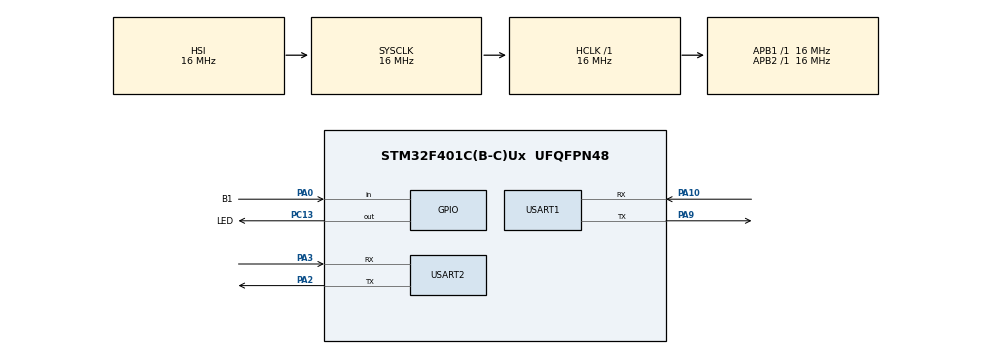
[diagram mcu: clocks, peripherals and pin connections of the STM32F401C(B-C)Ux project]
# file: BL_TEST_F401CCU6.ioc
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Mcu.Family=STM32F4
Mcu.Name=STM32F401C(B-C)Ux
Mcu.Package=UFQFPN48
NVIC.PriorityGroup=NVIC_PRIORITYGROUP_4
PA0-WKUP.GPIO_Label=B1
PA0-WKUP.Signal=GPIO_Input
PA10.Mode=Asynchronous
PA10.Signal=USART1_RX
PA13.Mode=Serial_Wire
PA13.Signal=SYS_JTMS-SWDIO
PA14.Mode=Serial_Wire
PA14.Signal=SYS_JTCK-SWCLK
PA2.Mode=Asynchronous
PA2.Signal=USART2_TX
PA3.Mode=Asynchronous
PA3.Signal=USART2_RX
PA9.Mode=Asynchronous
PA9.Signal=USART1_TX
PC13-ANTI_TAMP.GPIO_Label=LED
PC13-ANTI_TAMP.Signal=GPIO_Output
PH0\ -\ OSC_IN.Mode=HSE-External-Oscillator
PH0\ -\ OSC_IN.Signal=RCC_OSC_IN
PH1\ -\ OSC_OUT.Mode=HSE-External-Oscillator
PH1\ -\ OSC_OUT.Signal=RCC_OSC_OUT
ProjectManager.HeapSize=0x200
ProjectManager.StackSize=0x400
ProjectManager.TargetToolchain=STM32CubeIDE
RCC.AHBFreq_Value=16000000
RCC.APB1Freq_Value=16000000
RCC.APB2Freq_Value=16000000
RCC.CortexFreq_Value=16000000
RCC.HSE_VALUE=25000000
RCC.HSI_VALUE=16000000
RCC.LSE_VALUE=32768
RCC.SYSCLKFreq_VALUE=16000000
RCC.VCOOutputFreq_Value=192000000
USART1.VirtualMode=VM_ASYNC
USART2.VirtualMode=VM_ASYNC
VP_CRC_VS_CRC.Mode=CRC_Activate
board=custom

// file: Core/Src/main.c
/* USER CODE BEGIN Header */
/**
  ******************************************************************************
  * @file           : main.c
  * @brief          : Main program body
  ******************************************************************************
  * @attention
  *
  * Copyright (c) 2026 STMicroelectronics.
  * All rights reserved.
  *
  * This software is licensed under terms that can be found in the LICENSE file
  * in the root directory of this software component.
  * If no LICENSE file comes with this software, it is provided AS-IS.
  *
  ******************************************************************************
  */
/* USER CODE END Header */
#include "main.h"

/* USER CODE BEGIN PD */
#define BL_DEBUG_MSG_EN	1
#define D_UART &huart1 /* Debug UART*/
#define C_UART &huart2 /* Virtual Communication UART - For BL Commands (C)*/

#define BL_RX_LEN 200

#define FLASH_BOOTLOADER 		0x08000000 /* Bank 1 - Boot loader 16KB*/
#define FLASH_FIRMWARE1 		0x0800C000 /* Bank 1 - 96KB */
#define FLASH_FIRMWARE2 		0x08020000 /* Bank 2 - 128KB */

/* FLASH Active Bank Macros */
#define FLASH_ACTIVE_BANK1 		1
#define FLASH_ACTIVE_BANK2		2

/* FLASH Page for Meta data*/

#define FLASH_METADATA_BASEADDR	0x08008000

/* USER CODE END PD */

CRC_HandleTypeDef hcrc;

UART_HandleTypeDef huart1;
UART_HandleTypeDef huart2;

/* USER CODE BEGIN PV */
uint8_t bl_rx_buffer[BL_RX_LEN]; /* Buffer for general boot loader communications */

uint8_t supported_commands[] = {
                                 BL_GET_VER ,
                                 BL_GET_HELP,
                                 BL_GET_CID,
                                 BL_GET_RDP_STATUS,
                                 BL_GO_TO_ADDR,
                                 BL_FLASH_ERASE,
                                 BL_MEM_WRITE,
                                 BL_READ_SECTOR_P_STATUS,
								 BL_SHOW_ACTIVE_BANK};

uint8_t active_bank_number; /*Variable to store active bank number ACTIVE_BANK_1 or ACTIVE_BANK_2*/
/* USER CODE END PD */

/* Private macro -------------------------------------------------------------*/
/* USER CODE BEGIN PM */

/* USER CODE END PM */

/* Private variables ---------------------------------------------------------*/

/* USER CODE BEGIN PV */

/* USER CODE END PV */

void SystemClock_Config(void);
static void MX_GPIO_Init(void);
static void MX_CRC_Init(void);
static void MX_USART1_UART_Init(void);
static void MX_USART2_UART_Init(void);
/* USER CODE BEGIN PFP */
static void boot_manager(void);
static void launch_application(void);
static void start_update_flow(void);
static uint8_t user_requested_update(void);
static uint8_t update_button_active(void);
/* USER CODE END PFP */

int main(void)
{

  /* MCU Configuration--------------------------------------------------------*/

  /* Reset of all peripherals, Initializes the Flash interface and the Systick. */
  HAL_Init();

  /* Configure the system clock */
  SystemClock_Config();

  /* Initialize all configured peripherals */
  MX_GPIO_Init();
  MX_CRC_Init();
  MX_USART1_UART_Init();
  MX_USART2_UART_Init();
  /* USER CODE BEGIN 2 */
  active_bank_number = fetch_active_bank_number();
  printmsg("BL_DEBUG_MSG: Active Bank: %d \n\r", active_bank_number);

  boot_manager();

  /* USER CODE END 2 */

  /* Infinite loop */
  while (1)
  {

  }
}

void SystemClock_Config(void)
{
  RCC_OscInitTypeDef RCC_OscInitStruct = {0};
  RCC_ClkInitTypeDef RCC_ClkInitStruct = {0};

  /** Configure the main internal regulator output voltage
  */
  __HAL_RCC_PWR_CLK_ENABLE();
  __HAL_PWR_VOLTAGESCALING_CONFIG(PWR_REGULATOR_VOLTAGE_SCALE2);

  /** Initializes the RCC Oscillators according to the specified parameters
  * in the RCC_OscInitTypeDef structure.
  */
  RCC_OscInitStruct.OscillatorType = RCC_OSCILLATORTYPE_HSI;
  RCC_OscInitStruct.HSIState = RCC_HSI_ON;
  RCC_OscInitStruct.HSICalibrationValue = RCC_HSICALIBRATION_DEFAULT;
  RCC_OscInitStruct.PLL.PLLState = RCC_PLL_NONE;
  if (HAL_RCC_OscConfig(&RCC_OscInitStruct) != HAL_OK)
  {
    Error_Handler();
  }

  /** Initializes the CPU, AHB and APB buses clocks
  */
  RCC_ClkInitStruct.ClockType = RCC_CLOCKTYPE_HCLK|RCC_CLOCKTYPE_SYSCLK
                              |RCC_CLOCKTYPE_PCLK1|RCC_CLOCKTYPE_PCLK2;
  RCC_ClkInitStruct.SYSCLKSource = RCC_SYSCLKSOURCE_HSI;
  RCC_ClkInitStruct.AHBCLKDivider = RCC_SYSCLK_DIV1;
  RCC_ClkInitStruct.APB1CLKDivider = RCC_HCLK_DIV1;
  RCC_ClkInitStruct.APB2CLKDivider = RCC_HCLK_DIV1;

  if (HAL_RCC_ClockConfig(&RCC_ClkInitStruct, FLASH_LATENCY_0) != HAL_OK)
  {
    Error_Handler();
  }
}

static void MX_CRC_Init(void)
{

  hcrc.Instance = CRC;
  if (HAL_CRC_Init(&hcrc) != HAL_OK)
  {
    Error_Handler();
  }

}

static void MX_USART1_UART_Init(void)
{

  huart1.Instance = USART1;
  huart1.Init.BaudRate = 115200;
  huart1.Init.WordLength = UART_WORDLENGTH_8B;
  huart1.Init.StopBits = UART_STOPBITS_1;
  huart1.Init.Parity = UART_PARITY_NONE;
  huart1.Init.Mode = UART_MODE_TX_RX;
  huart1.Init.HwFlowCtl = UART_HWCONTROL_NONE;
  huart1.Init.OverSampling = UART_OVERSAMPLING_16;
  if (HAL_UART_Init(&huart1) != HAL_OK)
  {
    Error_Handler();
  }

}

static void MX_USART2_UART_Init(void)
{

  huart2.Instance = USART2;
  huart2.Init.BaudRate = 115200;
  huart2.Init.WordLength = UART_WORDLENGTH_8B;
  huart2.Init.StopBits = UART_STOPBITS_1;
  huart2.Init.Parity = UART_PARITY_NONE;
  huart2.Init.Mode = UART_MODE_TX_RX;
  huart2.Init.HwFlowCtl = UART_HWCONTROL_NONE;
  huart2.Init.OverSampling = UART_OVERSAMPLING_16;
  if (HAL_UART_Init(&huart2) != HAL_OK)
  {
    Error_Handler();
  }

}

static void MX_GPIO_Init(void)
{
  GPIO_InitTypeDef GPIO_InitStruct = {0};

  /* GPIO Ports Clock Enable */
  __HAL_RCC_GPIOC_CLK_ENABLE();
  __HAL_RCC_GPIOH_CLK_ENABLE();
  __HAL_RCC_GPIOA_CLK_ENABLE();

  /*Configure GPIO pin Output Level */
  HAL_GPIO_WritePin(LED_GPIO_Port, LED_Pin, GPIO_PIN_RESET);

  /*Configure GPIO pin : LED_Pin */
  GPIO_InitStruct.Pin = LED_Pin;
  GPIO_InitStruct.Mode = GPIO_MODE_OUTPUT_PP;
  GPIO_InitStruct.Pull = GPIO_NOPULL;
  GPIO_InitStruct.Speed = GPIO_SPEED_FREQ_LOW;
  HAL_GPIO_Init(LED_GPIO_Port, &GPIO_InitStruct);

  /*Configure GPIO pin : B1_Pin */
  GPIO_InitStruct.Pin = B1_Pin;
  GPIO_InitStruct.Mode = GPIO_MODE_INPUT;
  GPIO_InitStruct.Pull = GPIO_NOPULL;
  HAL_GPIO_Init(B1_GPIO_Port, &GPIO_InitStruct);

}

/* USER CODE BEGIN 4 */
void printmsg(char *format, ...){/* The ... (ellipsis) means that more arguments can follow */

#ifdef BL_DEBUG_MSG_EN

	char str[80];
	/*Extract the argument list using C VA APIs*/
	va_list args;
	va_start(args, format);
	vsprintf(str, format, args);
	HAL_UART_Transmit(D_UART, (uint8_t*)str, strlen(str), HAL_MAX_DELAY);
	va_end(args);
#endif
}

static uint8_t update_button_active(void)
{
    return (HAL_GPIO_ReadPin(B1_GPIO_Port, B1_Pin) == GPIO_PIN_SET);
}

static uint8_t user_requested_update(void)
{
    uint8_t response;

    printmsg("BL_DEBUG_MSG: Would you like to update the firmware? (Y/N): \n\r");

    if (HAL_UART_Receive(D_UART, &response, 1, HAL_MAX_DELAY) != HAL_OK)
    {
        printmsg("BL_DEBUG_MSG: No Response Received\n\r");
        return 0;
    }

    return (response == 'Y' || response == 'y');
}

static void launch_application(void)
{
	active_bank_number = fetch_active_bank_number();
	printmsg("BL_DEBUG_MSG: Active Bank: %d \n\r", active_bank_number);

    bootloader_jump_to_active_bank();
}

static void start_update_flow(void)
{
	printmsg("BL_DEBUG_MSG: Starting firmware Upgrade \n\r");

    handle_firmware_update();

//    printmsg("Update complete\r\n");

    HAL_Delay(5000);

    printmsg("BL_DEBUG_MSG: Jumping To User Application \n\r");

}

static void boot_manager(void)
{
    if (!update_button_active())
    {
    	printmsg("BL_DEBUG_MSG: Normal Boot Selected\n\r");
        launch_application();
        return;
    }

    else{

    	printmsg("BL_DEBUG_MSG: Bootloader Mode Entered\n\r");

    if (user_requested_update())
    {
        start_update_flow();
        launch_application();     // Centralized jump
    }
    else
    {
    	printmsg("BL_DEBUG_MSG: Entering Command Interface\n\r");
        bootloader_command_handler();
    }

    }
}

void bootloader_jump_to_active_bank()
{
	/* Flow of the function:
	 * 1. Reads the applications’s initial MSP and sets it.
	 * 2. Redirects interrupts by re-mapping VTOR.
	 * 3. Fetches the application’s Reset_Handler address.
	 * 4. Calls it, effectively jumping to the user application.
	 */

	printmsg("BL_DEBUG_MSG: bootloader_jump_to_user_app\n\r");

	/*The first byte at address of the FLASH area holds the value of MSP and next byte holds the Reset Handler
	 * according to ARM-Cortex Architecture */

	/*1. Configure the Main Stack Pointer (MSP) by reading the value form the flash base address of desired sector*/
	/* Check which firmware bank is active and run active firmware bank*/

	uint32_t resethandler_address;

	if(active_bank_number == FLASH_ACTIVE_BANK1)
	{

		printmsg("BL_DEBUG_MSG: Firmware Bank 1 Active. \n\r");

		uint32_t msp_value = *(volatile uint32_t*)FLASH_FIRMWARE1;

		/* Set MSP function from CMSIS*/
		 __disable_irq();

		    /* Stop SysTick */
		    SysTick->CTRL = 0;
		    SysTick->LOAD = 0;
		    SysTick->VAL  = 0;
		__set_MSP(msp_value);

		/* Re-map vector table to user application base address */
		SCB->VTOR = FLASH_FIRMWARE1; /* System Control Block - Vector Table Offset Register */

		/* Fetch the reset handler address of the user application
		* from the location FIRMWARE_BASE_ADDRESS + 4 (32bits) */
		resethandler_address = *(volatile uint32_t*)(FLASH_FIRMWARE1 + 4);

	}else if(active_bank_number == FLASH_ACTIVE_BANK2){

		printmsg("BL_DEBUG_MSG: Firmware Bank 2 Active. \n\r");

		uint32_t msp_value = *(volatile uint32_t*)FLASH_FIRMWARE2;

		__disable_irq();

		/* Stop SysTick */
		SysTick->CTRL = 0;
		SysTick->LOAD = 0;
		SysTick->VAL  = 0;

		__set_MSP(msp_value);

		SCB->VTOR = FLASH_FIRMWARE2;

		resethandler_address = *(volatile uint32_t*)(FLASH_FIRMWARE2 + 4);
	}
	else{
		/*If values fetched from FLASH Meta data page is not 0 or 1*/
		printmsg("BL_DEBUG_MSG: Firmware Bank Error! \n\r");
	}

	void (*app_reset_handler)(void); /*A function pointer to hold the address of reset handler*/
	app_reset_handler = (void*) resethandler_address;

	/*3. Jumping to the reset handler of user application - Now this address will be loaded into the Program Counter*/
	app_reset_handler();

}

void bootloader_command_handler()
{
	uint8_t rcv_len = 0;

	while(1)
	{
		memset(bl_rx_buffer, 0, BL_RX_LEN);

		/*First read only one byte, which is the length. Then read the other bytes from UART */
		HAL_UART_Receive(C_UART, (uint8_t*)&bl_rx_buffer, 1, HAL_MAX_DELAY);
		rcv_len = bl_rx_buffer[0];
		/*Receive the command*/
		HAL_UART_Receive(C_UART, (uint8_t*)&bl_rx_buffer[1], rcv_len, HAL_MAX_DELAY);
		printmsg("BL_DEBUG_MSG: Received CMD: 0x%02X\r\n", bl_rx_buffer[1]);

		switch(bl_rx_buffer[1]) /* To check for command codes */
		{
		case BL_GET_VER:
			bootloader_handle_getver_cmd(bl_rx_buffer);
			break;
		case BL_GET_HELP:
			bootloader_handle_gethelp_cmd(bl_rx_buffer);
			break;
		case BL_GET_CID:
			bootloader_handle_getcid_cmd(bl_rx_buffer);
			break;
		case BL_GET_RDP_STATUS:
			bootloader_handle_getrdp_cmd(bl_rx_buffer);
			break;
		case BL_FLASH_ERASE:
			bootloader_handle_flash_erase_cmd(bl_rx_buffer);
			break;
		case BL_MEM_WRITE:
			bootloader_handle_mem_write_cmd(bl_rx_buffer);
			break;
		case BL_EN_RW_PROTECT:
			bootloader_handle_en_rw_protect(bl_rx_buffer);
			break;
		case BL_DIS_R_W_PROTECT:
			bootloader_handle_dis_rw_protect(bl_rx_buffer);
			break;
		case BL_SHOW_ACTIVE_BANK:
			bootloader_show_active_bank(bl_rx_buffer);
			break;
		default:
			printmsg("BL_DEBUG_MSG:Invalid command code received from host \n\r");
			break;

		}

	}
}

/******************* Boot loader handler functions *******************/

void bootloader_handle_getver_cmd(uint8_t *bl_rx_buffer)
{
    /* Handle "Get Version" command */
	uint8_t bl_version;

	uint32_t command_packet_len = bl_rx_buffer[0] + 1; /*Length to follow + First byte*/

	/*Extract the 4 bytes of CRC32 sent by the host*/
	uint32_t host_crc = *((uint32_t*)(bl_rx_buffer + command_packet_len - 4)); /* CRC is always 32 bits (4 bytes) here */

	/*Verify checksum*/
	printmsg("BL_DEBUG_MSG: bootloader_handle_getver_cmd\n\r");
	if(! bootloader_verify_crc(&bl_rx_buffer[0], command_packet_len - 4, host_crc))
	{
		/*Checksum is correct*/
		printmsg("BL_DEBUG_MSG: Checksum success...!\n\r");
		bootloader_send_ack(1);
		bl_version = get_bootloader_version();
		printmsg("BL_DEBUG_MSG: BL_VER: %d ,%x\n\r", bl_version, bl_version);
		bootloader_uart_write_data(&bl_version, 1); /* Sends data back to the HOST */

	}else{
		printmsg("BL_DEBUG_MSG: Checksum failed...!\n\r");
		bootloader_send_nack();

	}

}

void bootloader_handle_gethelp_cmd(uint8_t *bl_rx_buffer)
{
    /* Handle "Get Help" command */
	printmsg("BL_DEBUG_MSG:bootloader_handle_gethelp_cmd\n\r");

	uint32_t command_packet_len = bl_rx_buffer[0] + 1;

	uint32_t host_crc = *((uint32_t*)(bl_rx_buffer + command_packet_len - 4));

	if(! bootloader_verify_crc(&bl_rx_buffer[0], command_packet_len - 4, host_crc))
	{
		printmsg("BL_DEBUG_MSG:checksum success !!\n\r");
		bootloader_send_ack(sizeof(supported_commands));
		bootloader_uart_write_data(supported_commands, sizeof(supported_commands));

	}else{
		printmsg("BL_DEBUG_MSG:checksum fail !!\n\r");
		bootloader_send_nack();
	}
}

void bootloader_handle_getcid_cmd(uint8_t *bl_rx_buffer)
{
    /* Handle "Get Chip ID" command */
	printmsg("BL_DEBUG_MSG:bootloader_handle_getcid_cmd\n\r");

	uint16_t bl_cid_num = 0;

	uint32_t command_packet_len = bl_rx_buffer[0] + 1;

	uint32_t host_crc = *((uint32_t*)(bl_rx_buffer + command_packet_len - 4));

	if(! bootloader_verify_crc(&bl_rx_buffer[0], command_packet_len - 4, host_crc))
	{
		printmsg("BL_DEBUG_MSG:checksum success !!\n\r");
		bootloader_send_ack(2);
		bl_cid_num = get_mcu_chip_id();
		printmsg("BL_DEBUG_MSG:MCU id : %d %#x !!\n\r",bl_cid_num, bl_cid_num);
		bootloader_uart_write_data((uint8_t*)&bl_cid_num, 2);
	}else{
		printmsg("BL_DEBUG_MSG:checksum fail !!\n\r");
		bootloader_send_nack();
	}
}

void bootloader_handle_getrdp_cmd(uint8_t *bl_rx_buffer)
{
    /* Handle "Get Read Protection Level" command */
	printmsg("BL_DEBUG_MSG:bootloader_handle_getrdp_cmd\n\r");

	uint8_t rdp_level = 0x00;

	//Total length of the command packet
	uint32_t command_packet_len = bl_rx_buffer[0]+1 ;

	//extract the CRC32 sent by the Host
	uint32_t host_crc = *((uint32_t * ) (bl_rx_buffer+command_packet_len - 4) ) ;

	if (! bootloader_verify_crc(&bl_rx_buffer[0],command_packet_len-4,host_crc))
	{
		printmsg("BL_DEBUG_MSG:checksum success !!\n\r");
		bootloader_send_ack(1);
		rdp_level = get_flash_rdp_level();
		printmsg("BL_DEBUG_MSG:RDP level: %d %#x\n\r",rdp_level, rdp_level);
		bootloader_uart_write_data(&rdp_level, 1);

	}else{
		printmsg("BL_DEBUG_MSG:checksum fail !!\n\r");
		bootloader_send_nack();
	}
}

void bootloader_handle_flash_erase_cmd(uint8_t *pBuffer)
{
    uint8_t erase_status = 0x00;
    uint32_t command_packet_len;
    uint32_t host_crc;

    printmsg("BL_DEBUG_MSG: bootloader_handle_flash_erase_cmd\n\r");

    /* Get total command length and host CRC */
    command_packet_len = bl_rx_buffer[0] + 1;
    host_crc = *((uint32_t *)(bl_rx_buffer + command_packet_len - 4));

    /* Verify CRC */
    if (!bootloader_verify_crc(&bl_rx_buffer[0], command_packet_len - 4, host_crc))
    {
        printmsg("BL_DEBUG_MSG: CRC check success.\n\r");
        bootloader_send_ack(1);

        uint32_t sector_number     = pBuffer[2];
        uint32_t number_of_sectors = pBuffer[3];

        printmsg("BL_DEBUG_MSG: Sector=%ld  Number of Sectors=%ld\n\r", sector_number, number_of_sectors);

        HAL_GPIO_WritePin(GPIOB, GPIO_PIN_14, GPIO_PIN_SET);

        /* Mass erase check */
        if (sector_number == 0xFF)
        {
            /* Convert to sentinel value used in execute_flash_erase() */
            sector_number = 0xFFFFFFFFU;
        }

        erase_status = execute_flash_erase(sector_number, number_of_sectors);

        HAL_GPIO_WritePin(GPIOB, GPIO_PIN_14, GPIO_PIN_RESET);

        printmsg("BL_DEBUG_MSG: flash erase status: %#x\n\r", erase_status);

        /* Send erase result to host */
        bootloader_uart_write_data(&erase_status, 1);
    }
    else
    {
        printmsg("BL_DEBUG_MSG: CRC check failed!\n\r");
        bootloader_send_nack();
    }
}

void bootloader_handle_mem_write_cmd(uint8_t *bl_rx_buffer)
{
	/* Handle "Memory Write" command */

	printmsg("BL_DEBUG_MSG:bootloader_handle_mem_write_cmd\n\r");

	uint8_t write_status = 0x00;
	uint8_t payload_len = bl_rx_buffer[6];

	uint32_t mem_addr = *((uint32_t*)(&bl_rx_buffer[2]));

	uint32_t command_packet_len = bl_rx_buffer[0] + 1 ;
	uint32_t host_crc = *((uint32_t * ) (bl_rx_buffer + command_packet_len - 4));

	if(! bootloader_verify_crc(&bl_rx_buffer[0], command_packet_len -4, host_crc))
	{
		printmsg("BL_DEBUG_MSG:checksum success !!\n\r");
		bootloader_send_ack(1);
		printmsg("BL_DEBUG_MSG: mem write address : %#x\n\r",mem_addr);

		if( verify_address(mem_addr) == ADDR_VALID ) {

			printmsg("BL_DEBUG_MSG: valid mem write address\n\r");

			//glow the led to indicate bootloader is currently writing to memory
			HAL_GPIO_WritePin(GPIOB, GPIO_PIN_14,1);

			/* Execute memory write*/
			write_status = execute_mem_write(&bl_rx_buffer[7], mem_addr, payload_len);

			HAL_GPIO_WritePin(GPIOB, GPIO_PIN_14,0);
			printmsg("BL_DEBUG_MSG: Write Status : %x\n\r",write_status);

			//inform host about the status
			bootloader_uart_write_data(&write_status,1);

		}else{
			printmsg("BL_DEBUG_MSG: invalid mem write address\n\r");
			write_status = ADDR_INVALID;
			//inform host that address is invalid
			bootloader_uart_write_data(&write_status,1);

		}
	}else{
		printmsg("BL_DEBUG_MSG:checksum fail !!\n\r");
		bootloader_send_nack();
	}
}

void bootloader_handle_en_rw_protect(uint8_t *bl_rx_buffer)
{
    /* Handle "Enable Read/Write Protection" command */
}

void bootloader_handle_dis_rw_protect(uint8_t *bl_rx_buffer)
{
    /* Handle "Disable Read/Write Protection" command */
}

void bootloader_send_nack(void)
{
	uint8_t nack = BL_NACK;
	HAL_UART_Transmit(C_UART, (uint8_t*)&nack, 1, HAL_MAX_DELAY);
}

void bootloader_send_ack(uint8_t follow_len)
{
	/* 2 Bytes are sent, first byte is ACK and second is the length value */
	uint8_t ack_buf[2];
	ack_buf[0] = BL_ACK;
	ack_buf[1] = follow_len;
	HAL_UART_Transmit(C_UART, (uint8_t*)&ack_buf, 2, HAL_MAX_DELAY);

}

uint8_t bootloader_verify_crc(uint8_t *pData, uint32_t len, uint32_t crc_host)
{
	uint32_t uwCRCValue = 0xff;

	for(int i=0; i<len; i++)
	{
		uint32_t i_data = pData[i];
		uwCRCValue = HAL_CRC_Accumulate(&hcrc, &i_data, 1);
	}

	/* Reset CRC Calculation Unit */
	__HAL_CRC_DR_RESET(&hcrc);

	if(uwCRCValue == crc_host)
		return VERIFY_CRC_SUCCESS;
	return VERIFY_CRC_FAIL;

}

void bootloader_uart_write_data(uint8_t *pBuffer,uint32_t len)
{
	HAL_UART_Transmit(C_UART, pBuffer, len, HAL_MAX_DELAY);
}

uint8_t get_bootloader_version()
{
	return (uint8_t)BL_VERSION;
}

uint16_t get_mcu_chip_id(void)
{
	/* RM: The STM32L47x/L48x/L49x/L4Ax MCUs integrate an MCU ID code. This ID identifies the
	   ST MCU part-number and the die revision. It is part of the DBG_MCU component and is
	   mapped on the external PPB bus (see Section 48.16 on page 1832). This code is
	   accessible using the JTAG debug port (4 to 5 pins) or the SW debug port (two pins) or by
	   the user software. It is even accessible while the MCU is under system reset.
	 */

	uint16_t cid;
	/* Reading the register and masking the unnecessary bits */
	cid = (uint16_t)(DBGMCU->IDCODE) & 0x0FFF;
	return cid;
}

uint8_t get_flash_rdp_level(void)
{
	/* !!! VERY IMPORTANT !!!! */
	/*
	 * LEVEL 2 (No debug mode): Option bytes cannot be programmed nor erased. Thus, the level 2 cannot be removed at all:
	 * it is an IRREVERSIBLE operation. 'DO NOT USE' Level 2, it is for end user products.
	 *
	 * When decreased from 'Level 1 to Level 0', the FLASH goes into MASS ERASE.
	 *
	 * */
	/*HAL Implementation*/
	uint8_t rdp_status = 0;
	FLASH_OBProgramInitTypeDef ob_handle;
	HAL_FLASHEx_OBGetConfig(&ob_handle);
	rdp_status = (uint8_t)ob_handle.RDPLevel;
	return rdp_status;
}

uint8_t verify_address(uint32_t go_address)
{
	/*Jump to FLASH, System Memory, SRAM1, SRAM2, Backup SRAM allowed,
	 * others such as peripheral memory not allowed*/

	if ( go_address >= SRAM1_BASE && go_address <= SRAM1_END) {

		return ADDR_VALID;
//	} else if ( go_address >= SRAM2_BASE && go_address <= SRAM2_END) {
//
//		return ADDR_VALID;
	} else if ( go_address >= FLASH_BASE && go_address <= FLASH_END) {

		return ADDR_VALID;
	}else
	return ADDR_INVALID;
}

uint8_t execute_flash_erase(uint8_t sector_number, uint8_t number_of_sectors) {
	//There are 8 sectors in STM32F446RE MCU (Sector[0:7])
	//number_of_sectors must be in the range of 0 to 7
	//if sector_number = 0xFF, that means mass erase

	FLASH_EraseInitTypeDef flashErase_handle;
	uint32_t sectorError;
	HAL_StatusTypeDef status;

	if(number_of_sectors > 5)
		return INVALID_SECTOR;

	if((sector_number == 0xFF) || (sector_number <= 5)) {

		if(sector_number == (uint8_t) 0xFF) {
			flashErase_handle.TypeErase = FLASH_TYPEERASE_MASSERASE;

		} else {
			//Calculate how many sectors need to be erased
			uint8_t remaining_sector = 6 - sector_number;

			if(number_of_sectors > remaining_sector) {
				number_of_sectors = remaining_sector;
			}

			flashErase_handle.TypeErase = FLASH_TYPEERASE_SECTORS;
			flashErase_handle.Sector = sector_number; //The initial sector
			flashErase_handle.NbSectors = number_of_sectors;
		}

//		flashErase_handle.Banks = FLASH_BANK_1;

		//Gain access to modify the FLASH registers
		HAL_FLASH_Unlock();
		flashErase_handle.VoltageRange = FLASH_VOLTAGE_RANGE_3;
		status = (uint8_t) HAL_FLASHEx_Erase(&flashErase_handle, &sectorError);
		HAL_FLASH_Lock();

		return status;
	}

	return INVALID_SECTOR;
}

uint8_t execute_mem_write(uint8_t *pBuffer, uint32_t mem_address, uint32_t len)
{
    HAL_StatusTypeDef status = HAL_OK;

    /* Flash word programming requires 4-byte alignment */
    if ((mem_address & 0x3U) != 0U)
        return (uint8_t)HAL_ERROR;

    if (len == 0U)
        return (uint8_t)HAL_OK;

    HAL_FLASH_Unlock();

    for (uint32_t offset = 0; offset < len; offset += 4U)
    {
        uint32_t data32 = 0xFFFFFFFFU;
        uint32_t chunk = ((len - offset) >= 4U) ? 4U : (len - offset);

        /* Pack bytes (little-endian) */
        for (uint32_t b = 0U; b < chunk; b++)
        {
            data32 &= ~(0xFFUL << (8U * b));  // clear byte
            data32 |= ((uint32_t)pBuffer[offset + b]) << (8U * b);
        }

        status = HAL_FLASH_Program(
                     FLASH_TYPEPROGRAM_WORD,
                     mem_address + offset,
                     data32);

        if (status != HAL_OK)
            break;
    }

    HAL_FLASH_Lock();
    return (uint8_t)status;
}

uint8_t fetch_available_firmware_version(void)
{

	uint8_t version_request_command = 0x99;
	uint8_t available_version;
	bootloader_uart_write_data(&version_request_command, 1);
	HAL_UART_Receive(C_UART, &available_version, 1, HAL_MAX_DELAY);
	/*TODO: Add CRC verification for the received function*/
	return available_version;
}

uint8_t handle_firmware_update(void)
{
	uint8_t write_status = 0x00;
	uint8_t erase_status = 0x00;
		/* Find the inactive bank address and corresponding page numbers*/
	uint32_t inactive_bank_adress = (active_bank_number == FLASH_ACTIVE_BANK1) ? FLASH_FIRMWARE2 : FLASH_FIRMWARE1;
//	uint32_t inactive_page_number = (active_bank_number == FLASH_ACTIVE_BANK1) ? 256 : 16;
	uint8_t inactive_bank_number = (active_bank_number == FLASH_ACTIVE_BANK1) ? FLASH_ACTIVE_BANK2 : FLASH_ACTIVE_BANK1;

	printmsg("BL_DEBUG_MSG: Downloading binaries to inactive bank: %d \n\r", inactive_bank_number);

	uint8_t update_request = BL_FW_UPDATE_REQUIRED;
	bootloader_uart_write_data(&update_request, 1);

	uint32_t current_address = inactive_bank_adress;

	uint8_t sector_number = (active_bank_number == FLASH_ACTIVE_BANK1) ? 5 : 3;
	uint8_t number_of_sectors = (active_bank_number == FLASH_ACTIVE_BANK1) ? 1 : 2;

	erase_status = execute_flash_erase(sector_number, number_of_sectors);

	printmsg("BL_DEBUG_MSG: flash erase status: %#x\n\r", erase_status);

	/*TODO: Need a continuous loop here to continuously get the pay load and write*/
	while(1)
	{
		memset(bl_rx_buffer, 0, BL_RX_LEN);
		HAL_UART_Receive(C_UART, (uint8_t*)&bl_rx_buffer, 1, HAL_MAX_DELAY);
		if(bl_rx_buffer[0] == 250)
		{
			printmsg("BL_DEBUG_MSG: Download Complete! \n\r");
			break;
		}
		uint32_t rcv_len = bl_rx_buffer[0];
		HAL_UART_Receive(C_UART, (uint8_t*)&bl_rx_buffer[1], rcv_len, HAL_MAX_DELAY);

		/* Get the length and check if new firmware fit into the banks, <= 480KB (in terms of words) TODO: Add size check, verification, roll back, other features*/
		// uint8_t write_status = 0x00;
		uint8_t payload_len = bl_rx_buffer[6];

		/* Erase the Inactive bank */
		//execute_flash_erase(inactive_page_number , 240);
		//printmsg("Inactive bank erased. Ready to write. \n\r");

		/* Download onto Inactive bank */
		write_status = execute_mem_write(&bl_rx_buffer[7], current_address, payload_len);

		HAL_GPIO_WritePin(GPIOB, GPIO_PIN_14,0);
		printmsg("BL_DEBUG_MSG: Write Status : %x\n\r",write_status);

					//inform host about the status
		bootloader_uart_write_data(&write_status,1);
		current_address += payload_len;

	}

	/*Update the active bank number in FLASH */
	uint8_t num_status = update_active_bank_number(inactive_bank_number);

	return num_status;
}

void bootloader_show_active_bank(uint8_t *pBuffer)
{
	/* Variable to store the active firmware bank number - To be preserved even after powering off
	 * One method: one dedicated page (2KB) in FLASH for configuration data - meta-data*/
	    uint8_t active_bank_number;

	    uint32_t command_packet_len = bl_rx_buffer[0] + 1; /*Length to follow + First byte*/

		/*Extract the 4 bytes of CRC32 sent by the host*/
		uint32_t host_crc = *((uint32_t*)(bl_rx_buffer + command_packet_len - 4)); /* CRC is always 32 bits (4 bytes) here */

		/*Verify checksum*/
		printmsg("BL_DEBUG_MSG: bootloader_handle_show_active_bank_cmd\n\r");
		if(! bootloader_verify_crc(&bl_rx_buffer[0], command_packet_len - 4, host_crc))
		{
			/*Checksum is correct*/
			printmsg("BL_DEBUG_MSG: Checksum success...!\n\r");
			bootloader_send_ack(1);
			active_bank_number = fetch_active_bank_number();
			printmsg("BL_DEBUG_MSG: Active Bank : %d \n\r", active_bank_number);
			bootloader_uart_write_data(&active_bank_number, 1); /* Sends data back to the HOST */

		}else{
			printmsg("BL_DEBUG_MSG: Checksum failed...!\n\r");
			bootloader_send_nack();

		}

}

uint8_t update_active_bank_number(uint8_t active_bank)
{
	/*Update the active bank number in FLASH page, after Firmware Update*/
	uint8_t write_status = 0x00;
	   /* Flash metadata must be 4-byte aligned */
	 if ((FLASH_METADATA_BASEADDR & 0x3U) != 0U)
	        return HAL_ERROR;

	FLASH_EraseInitTypeDef flashErase_handle;
	uint32_t pageError;
	HAL_StatusTypeDef status;

	HAL_FLASH_Unlock();

	flashErase_handle.TypeErase = FLASH_TYPEERASE_SECTORS;
	flashErase_handle.Sector = 2; //The initial sector
	flashErase_handle.NbSectors = 1;
	flashErase_handle.VoltageRange = FLASH_VOLTAGE_RANGE_3;

	status = HAL_FLASHEx_Erase(&flashErase_handle, &pageError);
	if (status == HAL_ERROR) return HAL_ERROR;
//	printmsg("BL_DEBUG_MSG: Erase Status : %x\n\r",status);
//
//							//inform host about the status
//				bootloader_uart_write_data(&status,1);

//	write_status = HAL_FLASH_Program(FLASH_TYPEPROGRAM_DOUBLEWORD, FLASH_METADATA_BASEADDR, (uint64_t)active_bank);
	 /* Prepare 32-bit word (pad with erased state) */
	    uint32_t meta_word = 0xFFFFFFFFU;
	    meta_word &= ~0xFFU;
	    meta_word |= (uint32_t)active_bank;

	    write_status = HAL_FLASH_Program(
	                 FLASH_TYPEPROGRAM_WORD,
	                 FLASH_METADATA_BASEADDR,
	                 meta_word);

			HAL_GPIO_WritePin(GPIOB, GPIO_PIN_14,0);
			printmsg("BL_DEBUG_MSG: Write Status : %x  %d\n\r",write_status,active_bank);

						//inform host about the status
			bootloader_uart_write_data(&write_status,1);

	HAL_FLASH_Lock();

	return status;

}

uint8_t fetch_active_bank_number(void)
{
	/*Fetch the active bank details from dedicated FLASH meta data page*/
	uint64_t retrieved_data;
	retrieved_data = *(const uint64_t*) FLASH_METADATA_BASEADDR;

	return (uint8_t)retrieved_data;
}

/* USER CODE END 4 */

void Error_Handler(void)
{
  __disable_irq();
  while (1)
  {
  }
}
